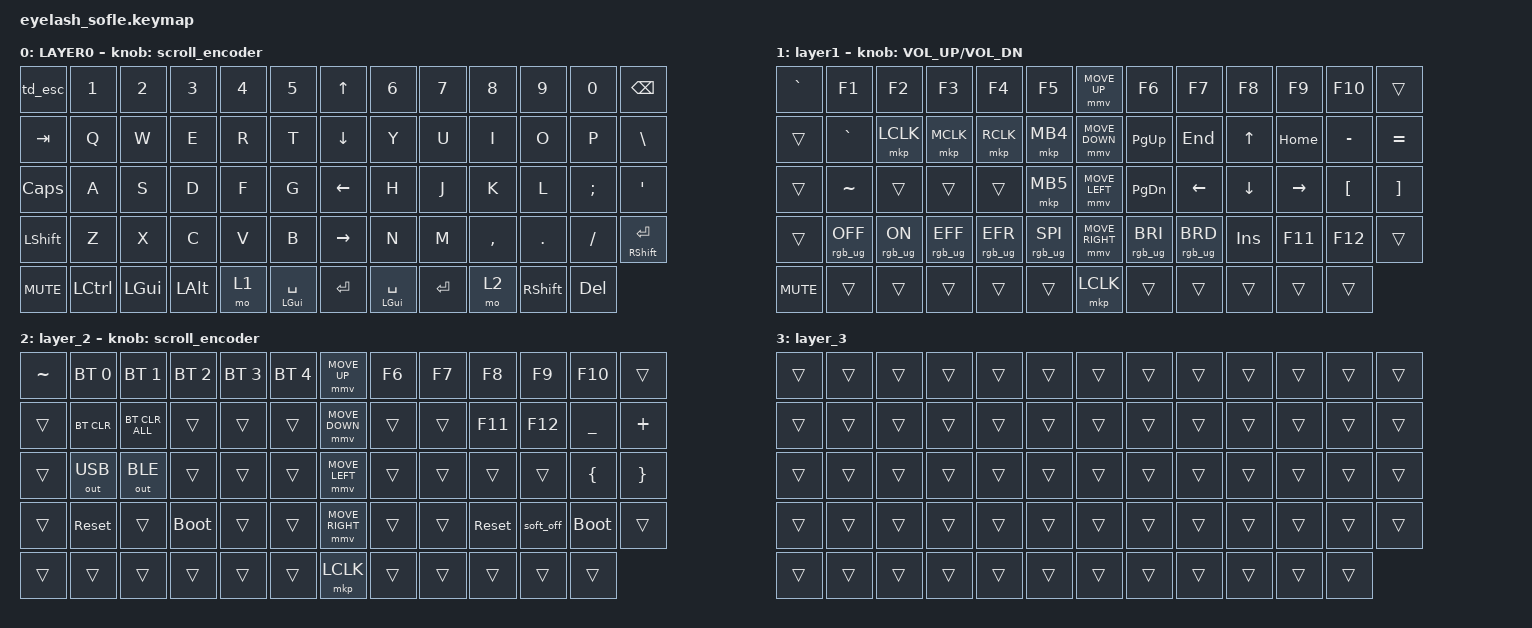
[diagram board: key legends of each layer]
#define ZMK_POINTING_DEFAULT_MOVE_VAL 1200  // 600
#define ZMK_POINTING_DEFAULT_SCRL_VAL 35    // 10

#include <input/processors.dtsi>
#include <zephyr/dt-bindings/input/input-event-codes.h>
#include <behaviors.dtsi>
#include <dt-bindings/zmk/bt.h>
#include <dt-bindings/zmk/keys.h>
#include <dt-bindings/zmk/outputs.h>
#include <dt-bindings/zmk/pointing.h>
#include <dt-bindings/zmk/rgb.h>

/ {
    zip_scroll_scaler: zip_scroll_scaler {
        compatible = "zmk,input-processor-scaler";
        #input-processor-cells = <2>;
        type = <INPUT_EV_REL>;
        codes = <INPUT_REL_WHEEL INPUT_REL_HWHEEL>;
        track-remainders;
    };
};

&mmv_input_listener { input-processors = <&zip_xy_scaler 2 1>; };

&msc_input_listener { input-processors = <&zip_scroll_scaler 2 1>; };

&msc {
    acceleration-exponent = <0>;
    time-to-max-speed-ms = <0>;
    delay-ms = <0>;
};

&mmv {
    time-to-max-speed-ms = <400>;
    acceleration-exponent = <1>;
};

/ {
    scroll_encoder: scroll_encoder {
        compatible = "zmk,behavior-sensor-rotate";
        #sensor-binding-cells = <0>;
        bindings = <&msc SCRL_DOWN>, <&msc SCRL_UP>;
        tap-ms = <100>;
    };

    macros {
        shift_MB3: shift_MB3 {
            compatible = "zmk,behavior-macro";
            #binding-cells = <0>;
            bindings =
                <&macro_press>,
                <&kp LEFT_SHIFT>,
                <&macro_press>,
                <&mkp MB3>,
                <&macro_pause_for_release>,
                <&macro_release>,
                <&mkp MB3 &kp LEFT_SHIFT>;
            label = "SHIFT_MB3";
        };
    };

    /* ========================================
     * 1) Tap Dance: ESC 单击=ESC, 双击=~(Grave)
     * ======================================== */
    behaviors {
        td_esc: tap_dance_esc {
            compatible = "zmk,behavior-tap-dance";
            #binding-cells = <0>;
            tapping-term-ms = <200>;
            bindings = <&kp GRAVE>, <&kp ESC>;
        };
    };

    /* ========================================
     * 2) Combos: J+I=1, J+K=2, J+,=3
     * 3) Soft Off: Q+S+Z 同时按下关机
     *
     * 按键位置编号 (Position Index):
     *   Row0:  0(ESC)  1(1) 2(2) 3(3) 4(4) 5(5) 6(UP) 7(6) 8(7) 9(8) 10(9) 11(0) 12(BKSP)
     *   Row1: 13(TAB) 14(Q) 15(W) 16(E) 17(R) 18(T) 19(DN) 20(Y) 21(U) 22(I) 23(O) 24(P) 25(BSLH)
     *   Row2: 26(CAPS) 27(A) 28(S) 29(D) 30(F) 31(G) 32(LT) 33(H) 34(J) 35(K) 36(L) 37(;) 38(')
     *   Row3: 39(LSHFT) 40(Z) 41(X) 42(C) 43(V) 44(B) 45(RT) 46(N) 47(M) 48(,) 49(.) 50(/) 51(ENT)
     *   Row4: 52(MUTE) 53(LCTL) 54(LGUI) 55(LALT) 56(mo1) 57(SPC) 58(ENT) 59(SPC) 60(ENT) 61(mo2) 62(RSHFT) 63(DEL)
     * ======================================== */
    combos {
        compatible = "zmk,combos";

        /* J + I = 数字 1 */
        combo_ji_1 {
            timeout-ms = <50>;
            key-positions = <34 22>;
            bindings = <&kp N1>;
            layers = <0>;
        };

        /* J + K = 数字 2 */
        combo_jk_2 {
            timeout-ms = <50>;
            key-positions = <34 35>;
            bindings = <&kp N2>;
            layers = <0>;
        };

        /* J + ,(48) = 数字 3 */
        combo_jcomma_3 {
            timeout-ms = <50>;
            key-positions = <34 48>;
            bindings = <&kp N3>;
            layers = <0>;
        };

        /* J + O(23) = 数字 4 */
        combo_jo_4 {
            timeout-ms = <50>;
            key-positions = <34 23>;
            bindings = <&kp N4>;
            layers = <0>;
        };

        /* J + L(36) = 数字 5 */
        combo_jl_5 {
            timeout-ms = <50>;
            key-positions = <34 36>;
            bindings = <&kp N5>;
            layers = <0>;
        };

        /* J + .(49) = 数字 6 */
        combo_jdot_6 {
            timeout-ms = <50>;
            key-positions = <34 49>;
            bindings = <&kp N6>;
            layers = <0>;
        };

        /* Q(14) + S(28) + Z(40) = Soft Off 关机
         * ZMK combo 必须用位置编号，14/28/40 就是 Q/S/Z 键 */
        combo_soft_off {
            timeout-ms = <100>;
            key-positions = <14 28 40>;
            bindings = <&soft_off>;
        };
    };

    keymap {
        compatible = "zmk,keymap";

        layer0 {
            bindings = <
&td_esc     &kp N1     &kp N2        &kp N3        &kp N4  &kp N5          &kp UP_ARROW     &kp N6         &kp N7     &kp N8     &kp N9           &kp N0      &kp BACKSPACE
&kp TAB     &kp Q      &kp W         &kp E         &kp R   &kp T           &kp DOWN_ARROW   &kp Y          &kp U      &kp I      &kp O            &kp P       &kp BSLH
&kp CAPS    &kp A      &kp S         &kp D         &kp F   &kp G           &kp LEFT_ARROW   &kp H          &kp J      &kp K      &kp L            &kp SEMI    &kp APOS
&kp LSHFT   &kp Z      &kp X         &kp C         &kp V   &kp B           &kp RIGHT_ARROW  &kp N          &kp M      &kp COMMA  &kp DOT          &kp FSLH    &mt RSHFT ENTER
&kp C_MUTE  &kp LCTRL  &kp LEFT_GUI  &kp LEFT_ALT  &mo 1   &mt LGUI SPACE  &kp ENTER        &mt LGUI SPACE &kp ENTER  &mo 2      &kp RIGHT_SHIFT  &kp DELETE
            >;
            sensor-bindings = <&scroll_encoder>;
            display-name = "LAYER0";
        };

        layer_1 {
            bindings = <
&kp GRAVE   &kp F1           &kp F2          &kp F3           &kp F4           &kp F5             &mmv MOVE_UP     &kp F6           &kp F7           &kp F8      &kp F9     &kp F10           &trans
&trans      &kp GRAVE        &mkp LCLK       &mkp MCLK        &mkp RCLK        &mkp MB4           &mmv MOVE_DOWN   &kp PG_UP        &kp END          &kp UP      &kp HOME   &kp MINUS         &kp EQUAL
&trans      &kp TILDE        &trans          &trans           &trans           &mkp MB5           &mmv MOVE_LEFT   &kp PG_DN        &kp LEFT         &kp DOWN    &kp RIGHT  &kp LEFT_BRACKET  &kp RIGHT_BRACKET
&trans      &rgb_ug RGB_OFF  &rgb_ug RGB_ON  &rgb_ug RGB_EFF  &rgb_ug RGB_EFR  &rgb_ug RGB_SPI    &mmv MOVE_RIGHT  &rgb_ug RGB_BRI  &rgb_ug RGB_BRD  &kp INSERT  &kp F11    &kp F12           &trans
&kp C_MUTE  &trans           &trans          &trans           &trans           &trans             &mkp LCLK        &trans           &trans           &trans      &trans     &trans
            >;
            display-name = "layer1";
            sensor-bindings = <&inc_dec_kp C_VOLUME_UP C_VOL_DN>;
        };

        layer_2 {
            bindings = <
&kp TILDE  &bt BT_SEL 0  &bt BT_SEL 1    &bt BT_SEL 2  &bt BT_SEL 3  &bt BT_SEL 4    &mmv MOVE_UP     &kp F6  &kp F7  &kp F8      &kp F9     &kp F10      &trans
&trans     &bt BT_CLR    &bt BT_CLR_ALL  &trans        &trans        &trans          &mmv MOVE_DOWN   &trans  &trans  &kp F11     &kp F12    &kp UNDER    &kp PLUS
&trans     &out OUT_USB  &out OUT_BLE    &trans        &trans        &trans          &mmv MOVE_LEFT   &trans  &trans  &trans      &trans     &kp LBRC     &kp RBRC
&trans     &sys_reset    &trans          &bootloader   &trans        &trans          &mmv MOVE_RIGHT  &trans  &trans  &sys_reset  &soft_off  &bootloader  &trans
&trans     &trans        &trans          &trans        &trans        &trans          &mkp LCLK        &trans  &trans  &trans      &trans     &trans
            >;
            sensor-bindings = <&scroll_encoder>;
        };

        layer_3 {
            bindings = <
&trans  &trans  &trans  &trans  &trans  &trans    &trans  &trans  &trans  &trans  &trans  &trans  &trans
&trans  &trans  &trans  &trans  &trans  &trans    &trans  &trans  &trans  &trans  &trans  &trans  &trans
&trans  &trans  &trans  &trans  &trans  &trans    &trans  &trans  &trans  &trans  &trans  &trans  &trans
&trans  &trans  &trans  &trans  &trans  &trans    &trans  &trans  &trans  &trans  &trans  &trans  &trans
&trans  &trans  &trans  &trans  &trans  &trans    &trans  &trans  &trans  &trans  &trans  &trans
            >;
        };
    };
};
